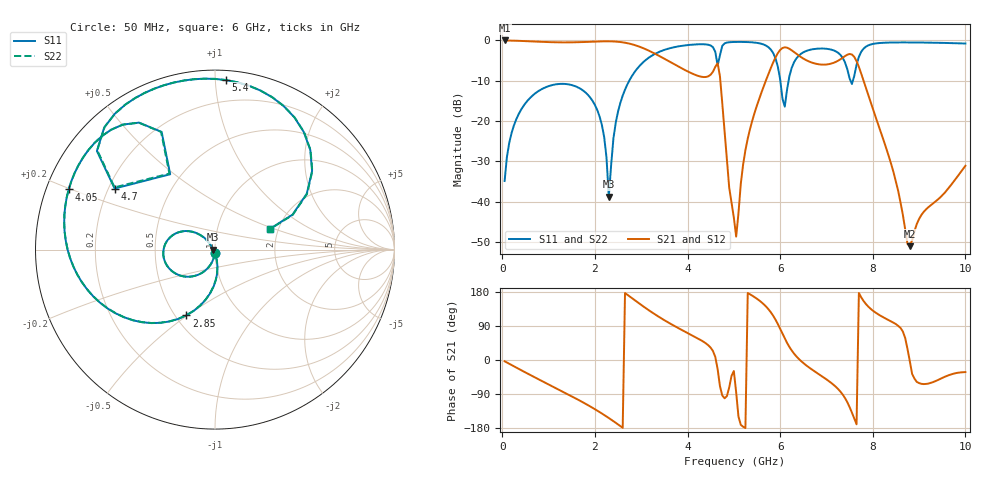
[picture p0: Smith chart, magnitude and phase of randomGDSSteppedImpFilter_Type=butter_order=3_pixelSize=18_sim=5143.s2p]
! freq	dB(S11)	phase(S11)	dB(S12)	phase(S12)
!  dB(S21)	phase(S21)	dB(S22)	phase(S22)
!S-par simulation data
#  GHz  S  DB  R 50
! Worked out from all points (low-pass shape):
!   200 points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, 50 MHz to 10 GHz, reference 50 ohm
!   highest |S21| = -0.01 dB at 50 MHz (marker M1); lowest = -51.0 dB at 8.8 GHz (marker M2)
!   |S21| within 3 dB of the highest: start of sweep to 3.248 GHz; 5.959 GHz to 6.314 GHz (354.5 MHz wide, 5.78 % of centre)
!   lowest |S11| = -38.8 dB at 2.3 GHz (marker M3), VSWR 1.02, Z = 48.9 - j0.0573 ohm
!   |S11| at or under -10 dB: start of sweep to 2.741 GHz; 6.003 GHz to 6.183 GHz (179 MHz wide, 2.94 % of centre); 7.52 GHz to 7.57 GHz (49.89 MHz wide, 0.661 % of centre)
!   |S22| runs from -38.3 to -0.4 dB; largest |S21 - S12| = 0
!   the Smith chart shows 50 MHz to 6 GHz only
!   S11 on the Smith chart (normalised r, x): 50 MHz: 1.00, -0.04; 2.85 GHz: 0.57, -0.50; 4.05 GHz: 0.07, +0.20; 4.7 GHz: 0.22, +0.27; 5.4 GHz: 0.06, +1.07; 6 GHz: 1.81, +0.47
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0.05  -34.86 -93.1  -0.01 -3.4  -0.01 -3.4  -34.86 -93.1
0.55  -14.88 -126.5  -0.19 -36.1  -0.19 -36.1  -14.88 -126.5
1.75  -12.47 157.9  -0.40 -112.3  -0.40 -112.3  -12.47 158.0
2.15  -20.93 132.2  -0.23 -141.2  -0.23 -141.2  -20.93 132.7
2.3  -38.76 -177.1  -0.22 -153.1  -0.22 -153.1  -38.33 -176.0
2.45  -20.38 -81.6  -0.29 -165.7  -0.29 -165.7  -20.37 -82.2
2.85  -7.96 -113.6  -1.12 158.7  -1.12 158.7  -7.96 -113.7
3.4  -2.78 -158.9  -3.92 112.5  -3.92 112.5  -2.78 -159.0
4.05  -1.10 157.6  -7.95 68.1  -7.95 68.1  -1.10 157.6
4.55  -1.68 120.9  -7.75 23.5  -7.75 23.5  -1.67 121.0
4.7  -3.68 148.7  -8.90 -68.9  -8.90 -68.9  -3.63 148.2
5.05  -0.37 110.5  -48.64 -85.2  -48.64 -85.2  -0.37 110.4
5.4  -0.48 86.3  -19.81 169.6  -19.81 169.6  -0.48 86.2
6  -9.67 20.8  -2.36 82.3  -2.36 82.3  -9.68 20.5
6.1  -16.42 79.0  -1.71 56.7  -1.71 56.7  -16.50 79.1
6.25  -6.78 103.1  -2.46 25.1  -2.46 25.1  -6.78 103.1
6.7  -2.19 62.7  -5.55 -26.3  -5.55 -26.3  -2.19 62.6
7.25  -3.05 20.9  -5.03 -76.5  -5.03 -76.5  -3.05 20.9
7.6  -8.81 55.8  -4.08 -154.6  -4.08 -154.6  -8.79 55.5
8.35  -0.53 0.6  -28.87 104.8  -28.87 104.8  -0.53 0.5
8.8  -0.50 -22.6  -51.02 -3.2  -51.02 -3.2  -0.50 -22.7
10  -0.76 -76.4  -31.09 -31.9  -31.09 -31.9  -0.76 -76.5
